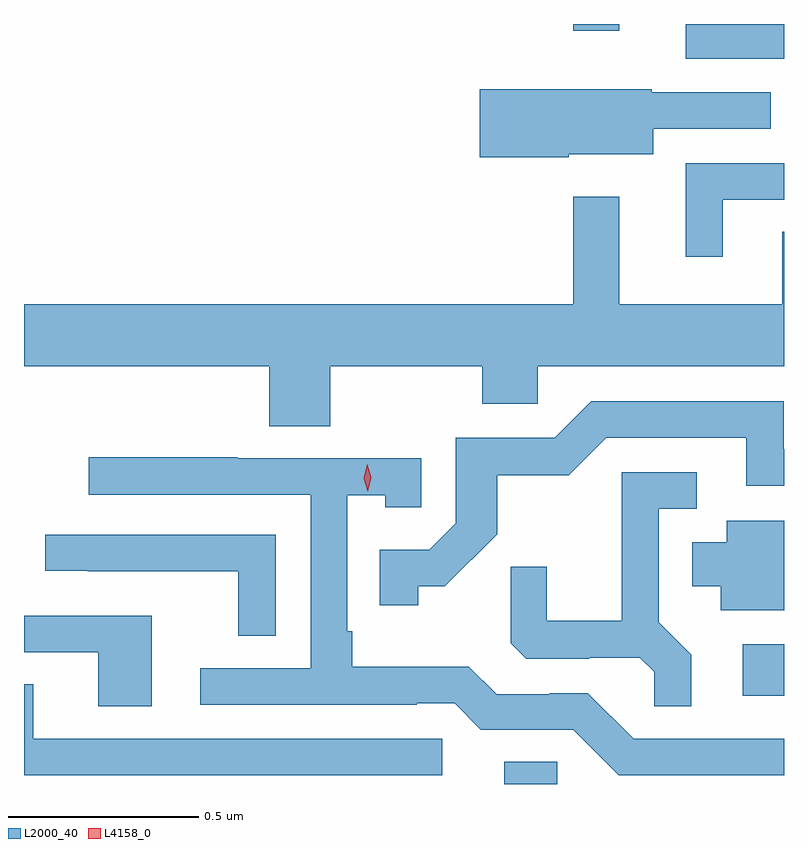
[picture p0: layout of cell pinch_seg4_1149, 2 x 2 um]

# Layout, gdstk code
import gdstk
lib = gdstk.Library(unit=1e-6, precision=1e-09)
def R(c, l, rs):  # rectangles x0, y0, x1, y1
    for r in rs: c.add(gdstk.rectangle(r[:2], r[2:], *l))
def P(c, l, *ps):  # polygons
    for p in ps: c.add(gdstk.Polygon(p, *l))
L2000_40 = (2000, 40)
L4158_0 = (4158, 0)

pinch_seg4_1149 = lib.new_cell('pinch_seg4_1149')
R(pinch_seg4_1149, L2000_40, [(448.025,807.709,448.164,807.767), (448.653,807.941,448.761,808.077), (448.502,809.618,448.761,809.709), (448.206,809.691,448.327,809.709)])
P(pinch_seg4_1149, L2000_40, [(448.194,809.366),(448.417,809.366),(448.417,809.433),(448.726,809.433),(448.726,809.529),(448.413,809.529),(448.413,809.537),(447.96,809.537),(447.96,809.359),(448.194,809.359)],
  [(448.6,809.247),(448.761,809.247),(448.761,809.343),(448.502,809.343),(448.502,809.097),(448.6,809.097)],
  [(447.567,808.808),(447.967,808.808),(447.967,808.71),(448.113,808.71),(448.113,808.808),(448.761,808.808),(448.761,809.162),(448.757,809.162),(448.757,808.972),(448.327,808.972),(448.327,809.254),(448.206,809.254),(448.206,808.972),(446.761,808.972),(446.761,808.808),(447.407,808.808),(447.407,808.651),(447.567,808.651)],
  [(447.798,808.229),(447.868,808.229),(448.006,808.366),(448.006,808.522),(448.195,808.522),(448.293,808.62),(448.661,808.62),(448.661,808.494),(448.761,808.494),(448.761,808.59),(448.76,808.59),(448.76,808.716),(448.254,808.716),(448.158,808.62),(447.897,808.62),(447.897,808.395),(447.828,808.326),(447.697,808.326),(447.697,808.179),(447.798,808.179)],
  [(448.761,807.828),(448.365,807.828),(448.245,807.948),(448.144,807.948),(448.144,807.945),(448.005,807.945),(447.932,808.018),(447.625,808.018),(447.625,808.111),(447.612,808.111),(447.612,808.469),(447.711,808.469),(447.711,808.437),(447.807,808.437),(447.807,808.566),(447.323,808.566),(447.323,808.569),(446.931,808.569),(446.931,808.47),(447.516,808.47),(447.516,808.014),(447.225,808.014),(447.225,807.918),(447.794,807.918),(447.794,807.921),(447.894,807.921),(447.963,807.852),(448.206,807.852),(448.326,807.732),(448.761,807.732)],
  [(448.517,808.049),(448.431,808.135),(448.431,808.434),(448.531,808.434),(448.531,808.53),(448.334,808.53),(448.334,808.138),(448.136,808.138),(448.136,808.281),(448.042,808.281),(448.042,808.079),(448.083,808.038),(448.248,808.038),(448.248,808.041),(448.382,808.041),(448.419,808.004),(448.419,807.913),(448.517,807.913)],
  [(448.761,808.402),(448.61,808.402),(448.61,808.345),(448.52,808.345),(448.52,808.229),(448.595,808.229),(448.595,808.166),(448.761,808.166)],
  [(447.423,808.365),(446.817,808.365),(446.817,808.27),(446.929,808.27),(446.929,808.269),(447.325,808.269),(447.325,808.099),(447.423,808.099)],
  [(447.097,808.152),(446.761,808.152),(446.761,808.056),(446.957,808.056),(446.957,807.913),(447.097,807.913)],
  [(447.862,807.828),(446.785,807.828),(446.785,807.971),(446.761,807.971),(446.761,807.732),(447.862,807.732)])
P(pinch_seg4_1149, L4158_0, [(447.665,808.479),(447.665,808.479),(447.655,808.514),(447.664,808.55),(447.664,808.551),(447.664,808.55),(447.675,808.515),(447.665,808.479)])

lib.write_gds('pinch_seg4_1149.gds')
